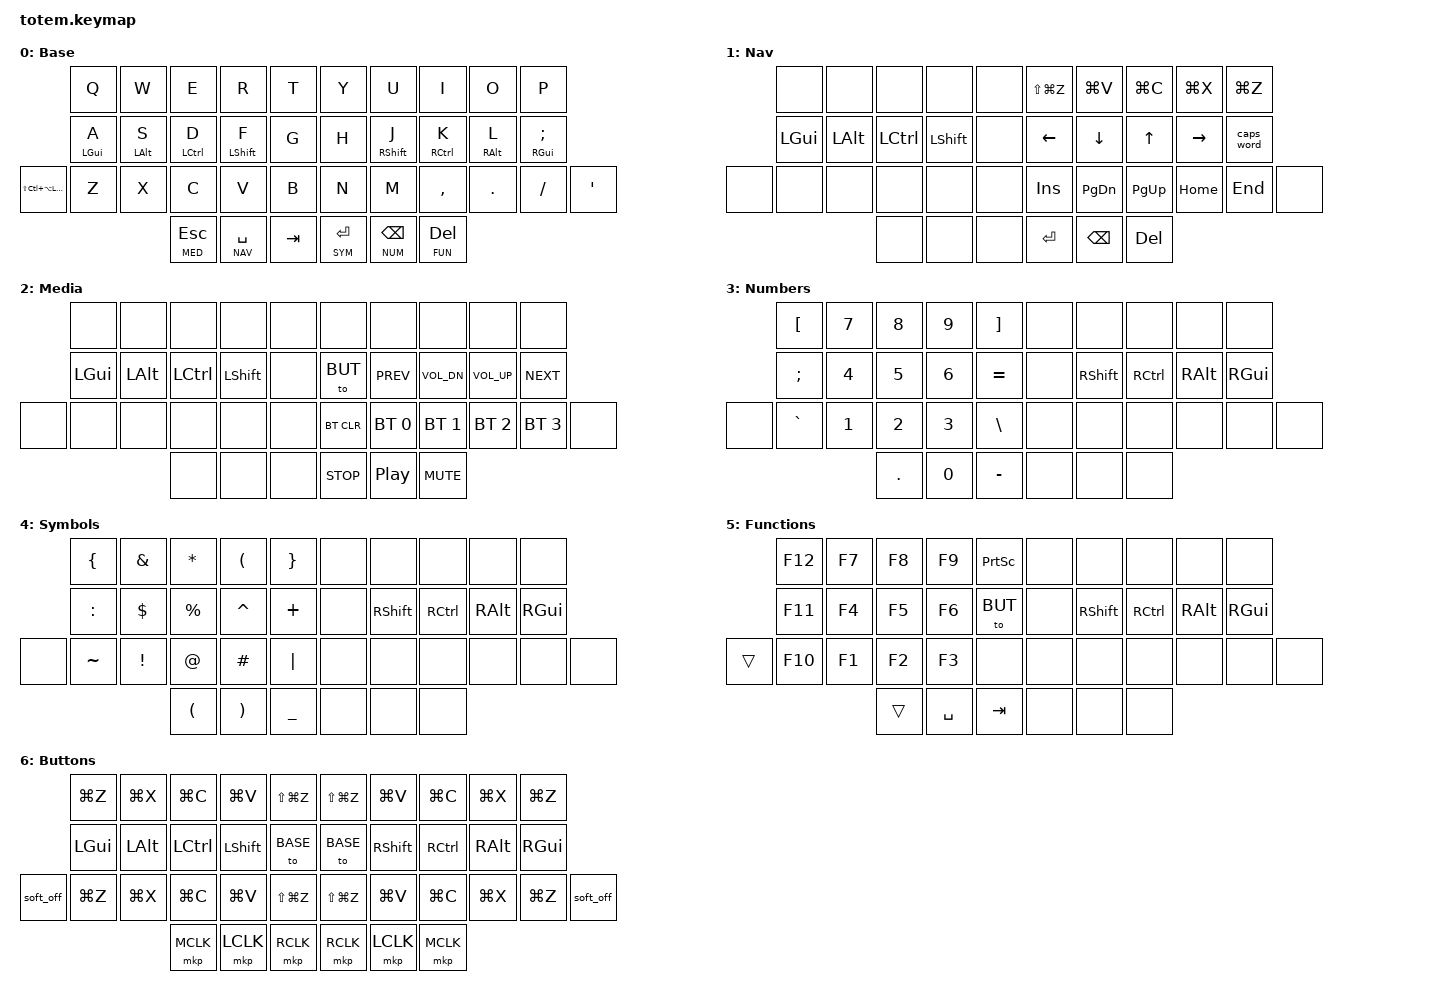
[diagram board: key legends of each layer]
#include <behaviors.dtsi>
#include <dt-bindings/zmk/keys.h>
#include <dt-bindings/zmk/bt.h>
#include <dt-bindings/zmk/mouse.h>
#include <dt-bindings/zmk/outputs.h>

#define BASE 0
#define NAV  1
#define MED  2
#define NUM  3
#define SYM  4
#define FUN  5
#define BUT  6

#define HYPER &kp LS(LC(LA(LGUI)))

&mt {
  quick-tap-ms = <150>;
  global-quick-tap;
  flavor = "tap-preferred";
  tapping-term-ms = <170>;
};

&mt {
  quick-tap-ms = <150>;
  global-quick-tap;
  flavor = "tap-preferred";
  tapping-term-ms = <170>;
};

/ {
  keymap {
    compatible = "zmk,keymap";
      base_layer {
        display-name = "Base";
        //             ┏━━━━━━━━━━━┳━━━━━━━━━━━┳━━━━━━━━━━━┳━━━━━━━━━━━┳━━━━━━━━━━━┓   ┏━━━━━━━━━━━┳━━━━━━━━━━━┳━━━━━━━━━━━┳━━━━━━━━━━━┳━━━━━━━━━━━┓
        //             ┃ Q         ┃ W         ┃ E         ┃ R         ┃ T         ┃   ┃ Y         ┃ U         ┃ I         ┃ O         ┃ P         ┃
        //             ┣━━━━━━━━━━━╋━━━━━━━━━━━╋━━━━━━━━━━━╋━━━━━━━━━━━╋━━━━━━━━━━━┫   ┣━━━━━━━━━━━╋━━━━━━━━━━━╋━━━━━━━━━━━╋━━━━━━━━━━━╋━━━━━━━━━━━┫
        //             ┃ A         ┃ S         ┃ D         ┃ F         ┃ G         ┃   ┃ H         ┃ J         ┃ K         ┃ L         ┃ ;         ┃
        // ┏━━━━━━━━━━━╋━━━━━━━━━━━╋━━━━━━━━━━━╋━━━━━━━━━━━╋━━━━━━━━━━━╋━━━━━━━━━━━┫   ┣━━━━━━━━━━━╋━━━━━━━━━━━╋━━━━━━━━━━━╋━━━━━━━━━━━╋━━━━━━━━━━━╋━━━━━━━━━━━┓
        // ┃ HYPER     ┃ Z         ┃ X         ┃ C         ┃ V         ┃ B         ┃   ┃ N         ┃ M         ┃ ,         ┃ .         ┃ /         ┃ '         ┃
        // ┗━━━━━━━━━━━┻━━━━━━━━━━━┻━━━━━━━━━━━╋━━━━━━━━━━━╋━━━━━━━━━━━╋━━━━━━━━━━━┫   ┣━━━━━━━━━━━╋━━━━━━━━━━━╋━━━━━━━━━━━╋━━━━━━━━━━━┻━━━━━━━━━━━┻━━━━━━━━━━━┛
        //                                     ┃ ESC       ┃ SPACE     ┃ TAB       ┃   ┃ ENTER     ┃ BSPC      ┃ DEL       ┃
        //                                     ┗━━━━━━━━━━━┻━━━━━━━━━━━┻━━━━━━━━━━━┛   ┗━━━━━━━━━━━┻━━━━━━━━━━━┻━━━━━━━━━━━┛
        bindings = <
        // ╷           ╷           ╷           ╷           ╷           ╷           ╷   ╷           ╷           ╷           ╷           ╷           ╷           ╷

                        &kp Q       &kp W       &kp E       &kp R       &kp T           &kp Y       &kp U       &kp I       &kp O       &kp P
                        &mt LGUI A  &mt LALT S  &mt LCTRL D &mt LSHFT F &kp G           &kp H       &mt RSHFT J &mt RCTRL K &mt RALT L  &mt RGUI SEMI
            HYPER       &kp Z       &kp X       &kp C       &kp V       &kp B           &kp N       &kp M       &kp COMMA   &kp DOT     &kp FSLH    &kp SQT
                                                &lt MED ESC &lt NAV SPACE &kp TAB       &lt SYM RET &lt NUM BSPC &lt FUN DEL
        >;
      };

      nav_layer {
        display-name = "Nav";
        //             ┏━━━━━━━━━━━┳━━━━━━━━━━━┳━━━━━━━━━━━┳━━━━━━━━━━━┳━━━━━━━━━━━┓   ┏━━━━━━━━━━━┳━━━━━━━━━━━┳━━━━━━━━━━━┳━━━━━━━━━━━┳━━━━━━━━━━━┓
        //             ┃           ┃           ┃           ┃           ┃           ┃   ┃ REDO      ┃ PASTE     ┃ COPY      ┃ CUT       ┃ UNDO      ┃
        //             ┣━━━━━━━━━━━╋━━━━━━━━━━━╋━━━━━━━━━━━╋━━━━━━━━━━━╋━━━━━━━━━━━┫   ┣━━━━━━━━━━━╋━━━━━━━━━━━╋━━━━━━━━━━━╋━━━━━━━━━━━╋━━━━━━━━━━━┫
        //             ┃ SUPER     ┃ ALT       ┃ CTRL      ┃ SHIFT     ┃           ┃   ┃ ←         ┃ ↓         ┃ ↑         ┃ →         ┃ CAPS WRD  ┃
        // ┏━━━━━━━━━━━╋━━━━━━━━━━━╋━━━━━━━━━━━╋━━━━━━━━━━━╋━━━━━━━━━━━╋━━━━━━━━━━━┫   ┣━━━━━━━━━━━╋━━━━━━━━━━━╋━━━━━━━━━━━╋━━━━━━━━━━━╋━━━━━━━━━━━╋━━━━━━━━━━━┓
        // ┃           ┃           ┃           ┃           ┃           ┃           ┃   ┃ INSERT    ┃ PG DOWN   ┃ PG UP     ┃ HOME      ┃ END       ┃           ┃
        // ┗━━━━━━━━━━━┻━━━━━━━━━━━┻━━━━━━━━━━━╋━━━━━━━━━━━╋━━━━━━━━━━━╋━━━━━━━━━━━┫   ┣━━━━━━━━━━━╋━━━━━━━━━━━╋━━━━━━━━━━━╋━━━━━━━━━━━┻━━━━━━━━━━━┻━━━━━━━━━━━┛
        //                                     ┃           ┃ 🁢🁢🁢🁢🁢🁢🁢🁢🁢 ┃           ┃   ┃ ENTER     ┃ BSPC      ┃ DEL       ┃
        //                                     ┗━━━━━━━━━━━┻━━━━━━━━━━━┻━━━━━━━━━━━┛   ┗━━━━━━━━━━━┻━━━━━━━━━━━┻━━━━━━━━━━━┛
        bindings = <
        // ╷           ╷           ╷           ╷           ╷           ╷           ╷   ╷           ╷           ╷           ╷           ╷           ╷           ╷

                        &none       &none       &none       &none       &none           &kp LS(LG(Z)) &kp LG(V) &kp LG(C)   &kp LG(X)   &kp LG(Z)
                        &kp LGUI    &kp LALT    &kp LCTRL   &kp LSHFT   &none           &kp LEFT    &kp DOWN    &kp UP      &kp RIGHT   &caps_word
            &none       &none       &none       &none       &none       &none           &kp INS     &kp PG_DN   &kp PG_UP   &kp HOME    &kp END     &none
                                                &none       &none       &none           &kp RET     &kp BSPC    &kp DEL
        >;
      };

      med_layer {
        display-name = "Media";
        //             ┏━━━━━━━━━━━┳━━━━━━━━━━━┳━━━━━━━━━━━┳━━━━━━━━━━━┳━━━━━━━━━━━┓   ┏━━━━━━━━━━━┳━━━━━━━━━━━┳━━━━━━━━━━━┳━━━━━━━━━━━┳━━━━━━━━━━━┓
        //             ┃           ┃           ┃           ┃           ┃           ┃   ┃           ┃           ┃           ┃           ┃           ┃
        //             ┣━━━━━━━━━━━╋━━━━━━━━━━━╋━━━━━━━━━━━╋━━━━━━━━━━━╋━━━━━━━━━━━┫   ┣━━━━━━━━━━━╋━━━━━━━━━━━╋━━━━━━━━━━━╋━━━━━━━━━━━╋━━━━━━━━━━━┫
        //             ┃ SUPER     ┃ ALT       ┃ CTRL      ┃ SHIFT     ┃           ┃   ┃ BUT LAY   ┃ PREV      ┃ VOL-      ┃ VOL+      ┃ NEXT      ┃
        // ┏━━━━━━━━━━━╋━━━━━━━━━━━╋━━━━━━━━━━━╋━━━━━━━━━━━╋━━━━━━━━━━━╋━━━━━━━━━━━┫   ┣━━━━━━━━━━━╋━━━━━━━━━━━╋━━━━━━━━━━━╋━━━━━━━━━━━╋━━━━━━━━━━━╋━━━━━━━━━━━┓
        // ┃           ┃           ┃           ┃           ┃           ┃           ┃   ┃ BT CLEAR  ┃ BT 0      ┃ BT 1      ┃ BT 2      ┃ BT 3      ┃           ┃
        // ┗━━━━━━━━━━━┻━━━━━━━━━━━┻━━━━━━━━━━━╋━━━━━━━━━━━╋━━━━━━━━━━━╋━━━━━━━━━━━┫   ┣━━━━━━━━━━━╋━━━━━━━━━━━╋━━━━━━━━━━━╋━━━━━━━━━━━┻━━━━━━━━━━━┻━━━━━━━━━━━┛
        //                                     ┃ 🁢🁢🁢🁢🁢🁢🁢🁢🁢 ┃           ┃           ┃   ┃ STOP      ┃ PLAY      ┃ MUTE      ┃
        //                                     ┗━━━━━━━━━━━┻━━━━━━━━━━━┻━━━━━━━━━━━┛   ┗━━━━━━━━━━━┻━━━━━━━━━━━┻━━━━━━━━━━━┛
        bindings = <
        // ╷           ╷           ╷           ╷           ╷           ╷           ╷   ╷           ╷           ╷           ╷           ╷           ╷           ╷

                        &none       &none       &none       &none       &none           &none       &none       &none       &none       &none
                        &kp LGUI    &kp LALT    &kp LCTRL   &kp LSHFT   &none           &to BUT     &kp C_PREV  &kp C_VOL_DN &kp C_VOL_UP &kp C_NEXT
            &none       &none       &none       &none       &none       &none           &bt BT_CLR  &bt BT_SEL 0 &bt BT_SEL 1 &bt BT_SEL 2 &bt BT_SEL 3 &none
                                                &none       &none       &none           &kp C_STOP  &kp C_PP    &kp C_MUTE
        >;
      };

      num_layer {
        display-name = "Numbers";
        //             ┏━━━━━━━━━━━┳━━━━━━━━━━━┳━━━━━━━━━━━┳━━━━━━━━━━━┳━━━━━━━━━━━┓   ┏━━━━━━━━━━━┳━━━━━━━━━━━┳━━━━━━━━━━━┳━━━━━━━━━━━┳━━━━━━━━━━━┓
        //             ┃ [         ┃ 7         ┃ 8         ┃ 9         ┃ ]         ┃   ┃           ┃           ┃           ┃           ┃           ┃
        //             ┣━━━━━━━━━━━╋━━━━━━━━━━━╋━━━━━━━━━━━╋━━━━━━━━━━━╋━━━━━━━━━━━┫   ┣━━━━━━━━━━━╋━━━━━━━━━━━╋━━━━━━━━━━━╋━━━━━━━━━━━╋━━━━━━━━━━━┫
        //             ┃ ;         ┃ 4         ┃ 5         ┃ 6         ┃ =         ┃   ┃           ┃ SHIFT     ┃ CTRL      ┃ ALT       ┃ SUPER     ┃
        // ┏━━━━━━━━━━━╋━━━━━━━━━━━╋━━━━━━━━━━━╋━━━━━━━━━━━╋━━━━━━━━━━━╋━━━━━━━━━━━┫   ┣━━━━━━━━━━━╋━━━━━━━━━━━╋━━━━━━━━━━━╋━━━━━━━━━━━╋━━━━━━━━━━━╋━━━━━━━━━━━┓
        // ┃           ┃ `         ┃ 1         ┃ 2         ┃ 3         ┃ \         ┃   ┃           ┃           ┃           ┃           ┃           ┃           ┃
        // ┗━━━━━━━━━━━┻━━━━━━━━━━━┻━━━━━━━━━━━╋━━━━━━━━━━━╋━━━━━━━━━━━╋━━━━━━━━━━━┫   ┣━━━━━━━━━━━╋━━━━━━━━━━━╋━━━━━━━━━━━╋━━━━━━━━━━━┻━━━━━━━━━━━┻━━━━━━━━━━━┛
        //                                     ┃ .         ┃ 0         ┃ -         ┃   ┃           ┃ 🁢🁢🁢🁢🁢🁢🁢🁢🁢 ┃           ┃
        //                                     ┗━━━━━━━━━━━┻━━━━━━━━━━━┻━━━━━━━━━━━┛   ┗━━━━━━━━━━━┻━━━━━━━━━━━┻━━━━━━━━━━━┛
        bindings = <
        // ╷           ╷           ╷           ╷           ╷           ╷           ╷   ╷           ╷           ╷           ╷           ╷           ╷           ╷

                        &kp LBKT    &kp N7      &kp N8      &kp N9      &kp RBKT        &none       &none       &none       &none       &none
                        &kp SEMI    &kp N4      &kp N5      &kp N6      &kp EQUAL       &none       &kp RSHFT   &kp RCTRL   &kp RALT    &kp RGUI
            &none       &kp GRAVE   &kp N1      &kp N2      &kp N3      &kp BSLH        &none       &none       &none       &none       &none       &none
                                                &kp DOT     &kp N0      &kp MINUS       &none       &none       &none
        >;
      };

      sym_layer {
        display-name = "Symbols";
        //             ┏━━━━━━━━━━━┳━━━━━━━━━━━┳━━━━━━━━━━━┳━━━━━━━━━━━┳━━━━━━━━━━━┓   ┏━━━━━━━━━━━┳━━━━━━━━━━━┳━━━━━━━━━━━┳━━━━━━━━━━━┳━━━━━━━━━━━┓
        //             ┃ {         ┃ &         ┃ *         ┃ (         ┃ }         ┃   ┃           ┃           ┃           ┃           ┃           ┃
        //             ┣━━━━━━━━━━━╋━━━━━━━━━━━╋━━━━━━━━━━━╋━━━━━━━━━━━╋━━━━━━━━━━━┫   ┣━━━━━━━━━━━╋━━━━━━━━━━━╋━━━━━━━━━━━╋━━━━━━━━━━━╋━━━━━━━━━━━┫
        //             ┃ :         ┃ $         ┃ %         ┃ ^         ┃ +         ┃   ┃           ┃ SHIFT     ┃ CTRL      ┃ ALT       ┃ SUPER     ┃
        // ┏━━━━━━━━━━━╋━━━━━━━━━━━╋━━━━━━━━━━━╋━━━━━━━━━━━╋━━━━━━━━━━━╋━━━━━━━━━━━┫   ┣━━━━━━━━━━━╋━━━━━━━━━━━╋━━━━━━━━━━━╋━━━━━━━━━━━╋━━━━━━━━━━━╋━━━━━━━━━━━┓
        // ┃           ┃ ~         ┃ !         ┃ @         ┃ #         ┃ |         ┃   ┃           ┃           ┃           ┃           ┃           ┃           ┃
        // ┗━━━━━━━━━━━┻━━━━━━━━━━━┻━━━━━━━━━━━╋━━━━━━━━━━━╋━━━━━━━━━━━╋━━━━━━━━━━━┫   ┣━━━━━━━━━━━╋━━━━━━━━━━━╋━━━━━━━━━━━╋━━━━━━━━━━━┻━━━━━━━━━━━┻━━━━━━━━━━━┛
        //                                     ┃ (         ┃ )         ┃ _         ┃   ┃ 🁢🁢🁢🁢🁢🁢🁢🁢🁢 ┃           ┃           ┃
        //                                     ┗━━━━━━━━━━━┻━━━━━━━━━━━┻━━━━━━━━━━━┛   ┗━━━━━━━━━━━┻━━━━━━━━━━━┻━━━━━━━━━━━┛
        bindings = <
        // ╷           ╷           ╷           ╷           ╷           ╷           ╷   ╷           ╷           ╷           ╷           ╷           ╷           ╷

                        &kp LBRC    &kp AMPS    &kp STAR    &kp LPAR    &kp RBRC        &none       &none       &none       &none       &none
                        &kp COLON   &kp DLLR    &kp PRCNT   &kp CARET   &kp PLUS        &none       &kp RSHFT   &kp RCTRL   &kp RALT    &kp RGUI
            &none       &kp TILDE   &kp EXCL    &kp AT      &kp HASH    &kp PIPE        &none       &none       &none       &none       &none       &none
                                                &kp LPAR    &kp RPAR    &kp UNDER       &none       &none       &none
        >;
      };

      fun_layer {
        display-name = "Functions";
        //             ┏━━━━━━━━━━━┳━━━━━━━━━━━┳━━━━━━━━━━━┳━━━━━━━━━━━┳━━━━━━━━━━━┓   ┏━━━━━━━━━━━┳━━━━━━━━━━━┳━━━━━━━━━━━┳━━━━━━━━━━━┳━━━━━━━━━━━┓
        //             ┃ F12       ┃ F7        ┃ F8        ┃ F9        ┃ PRNT SCRN ┃   ┃           ┃           ┃           ┃           ┃           ┃
        //             ┣━━━━━━━━━━━╋━━━━━━━━━━━╋━━━━━━━━━━━╋━━━━━━━━━━━╋━━━━━━━━━━━┫   ┣━━━━━━━━━━━╋━━━━━━━━━━━╋━━━━━━━━━━━╋━━━━━━━━━━━╋━━━━━━━━━━━┫
        //             ┃ F11       ┃ F4        ┃ F5        ┃ F6        ┃ BUT LAY   ┃   ┃           ┃ SHIFT     ┃ CTRL      ┃ ALT       ┃ SUPER     ┃
        // ┏━━━━━━━━━━━╋━━━━━━━━━━━╋━━━━━━━━━━━╋━━━━━━━━━━━╋━━━━━━━━━━━╋━━━━━━━━━━━┫   ┣━━━━━━━━━━━╋━━━━━━━━━━━╋━━━━━━━━━━━╋━━━━━━━━━━━╋━━━━━━━━━━━╋━━━━━━━━━━━┓
        // ┃           ┃ F10       ┃ F1        ┃ F2        ┃ F3        ┃           ┃   ┃           ┃           ┃           ┃           ┃           ┃           ┃
        // ┗━━━━━━━━━━━┻━━━━━━━━━━━┻━━━━━━━━━━━╋━━━━━━━━━━━╋━━━━━━━━━━━╋━━━━━━━━━━━┫   ┣━━━━━━━━━━━╋━━━━━━━━━━━╋━━━━━━━━━━━╋━━━━━━━━━━━┻━━━━━━━━━━━┻━━━━━━━━━━━┛
        //                                     ┃           ┃ SPACE     ┃ TAB       ┃   ┃           ┃           ┃ 🁢🁢🁢🁢🁢🁢🁢🁢🁢 ┃
        //                                     ┗━━━━━━━━━━━┻━━━━━━━━━━━┻━━━━━━━━━━━┛   ┗━━━━━━━━━━━┻━━━━━━━━━━━┻━━━━━━━━━━━┛
        bindings = <
        // ╷           ╷           ╷           ╷           ╷           ╷           ╷   ╷           ╷           ╷           ╷           ╷           ╷           ╷

                        &kp F12     &kp F7      &kp F8      &kp F9      &kp PSCRN       &none       &none       &none       &none       &none
                        &kp F11     &kp F4      &kp F5      &kp F6      &to BUT         &none       &kp RSHFT   &kp RCTRL   &kp RALT    &kp RGUI
            &trans      &kp F10     &kp F1      &kp F2      &kp F3      &none           &none       &none       &none       &none       &none       &none
                                                &trans      &kp SPACE   &kp TAB         &none       &none       &none
        >;
      };

      but_layer {
        display-name = "Buttons";
        //             ┏━━━━━━━━━━━┳━━━━━━━━━━━┳━━━━━━━━━━━┳━━━━━━━━━━━┳━━━━━━━━━━━┓   ┏━━━━━━━━━━━┳━━━━━━━━━━━┳━━━━━━━━━━━┳━━━━━━━━━━━┳━━━━━━━━━━━┓
        //             ┃ UNDO      ┃ CUT       ┃ COPY      ┃ PASTE     ┃ REDO      ┃   ┃ REDO      ┃ PASTE     ┃ COPY      ┃ CUT       ┃ UNDO      ┃
        //             ┣━━━━━━━━━━━╋━━━━━━━━━━━╋━━━━━━━━━━━╋━━━━━━━━━━━╋━━━━━━━━━━━┫   ┣━━━━━━━━━━━╋━━━━━━━━━━━╋━━━━━━━━━━━╋━━━━━━━━━━━╋━━━━━━━━━━━┫
        //             ┃ SUPER     ┃ ALT       ┃ CTRL      ┃ SHIFT     ┃ BASE LAY  ┃   ┃ BASE LAY  ┃ SHIFT     ┃ CTRL      ┃ ALT       ┃ SUPER     ┃
        // ┏━━━━━━━━━━━╋━━━━━━━━━━━╋━━━━━━━━━━━╋━━━━━━━━━━━╋━━━━━━━━━━━╋━━━━━━━━━━━┫   ┣━━━━━━━━━━━╋━━━━━━━━━━━╋━━━━━━━━━━━╋━━━━━━━━━━━╋━━━━━━━━━━━╋━━━━━━━━━━━┓
        // ┃ SOFT OFF  ┃ UNDO      ┃ CUT       ┃ COPY      ┃ PASTE     ┃ REDO      ┃   ┃ REDO      ┃ PASTE     ┃ COPY      ┃ CUT       ┃ UNDO      ┃ SOFT OFF  ┃
        // ┗━━━━━━━━━━━┻━━━━━━━━━━━┻━━━━━━━━━━━╋━━━━━━━━━━━╋━━━━━━━━━━━╋━━━━━━━━━━━┫   ┣━━━━━━━━━━━╋━━━━━━━━━━━╋━━━━━━━━━━━╋━━━━━━━━━━━┻━━━━━━━━━━━┻━━━━━━━━━━━┛
        //                                     ┃ MIDDLE    ┃ LEFT      ┃ RIGHT     ┃   ┃ RIGHT     ┃ LEFT      ┃ MIDDLE    ┃
        //                                     ┗━━━━━━━━━━━┻━━━━━━━━━━━┻━━━━━━━━━━━┛   ┗━━━━━━━━━━━┻━━━━━━━━━━━┻━━━━━━━━━━━┛
        bindings = <
        // ╷           ╷           ╷           ╷           ╷           ╷           ╷   ╷           ╷           ╷           ╷           ╷           ╷           ╷

                        &kp LG(Z)   &kp LG(X)   &kp LG(C)   &kp LG(V)   &kp LS(LG(Z))   &kp LS(LG(Z)) &kp LG(V) &kp LG(C)   &kp LG(X)   &kp LG(Z)
                        &kp LGUI    &kp LALT    &kp LCTRL   &kp LSHFT   &to BASE        &to BASE      &kp RSHFT   &kp RCTRL   &kp RALT    &kp RGUI
            &soft_off   &kp LG(Z)   &kp LG(X)   &kp LG(C)   &kp LG(V)   &kp LS(LG(Z))   &kp LS(LG(Z)) &kp LG(V) &kp LG(C)   &kp LG(X)   &kp LG(Z)   &soft_off
                                                &mkp MCLK   &mkp LCLK   &mkp RCLK       &mkp RCLK   &mkp LCLK   &mkp MCLK
        >;
      };
    };
};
